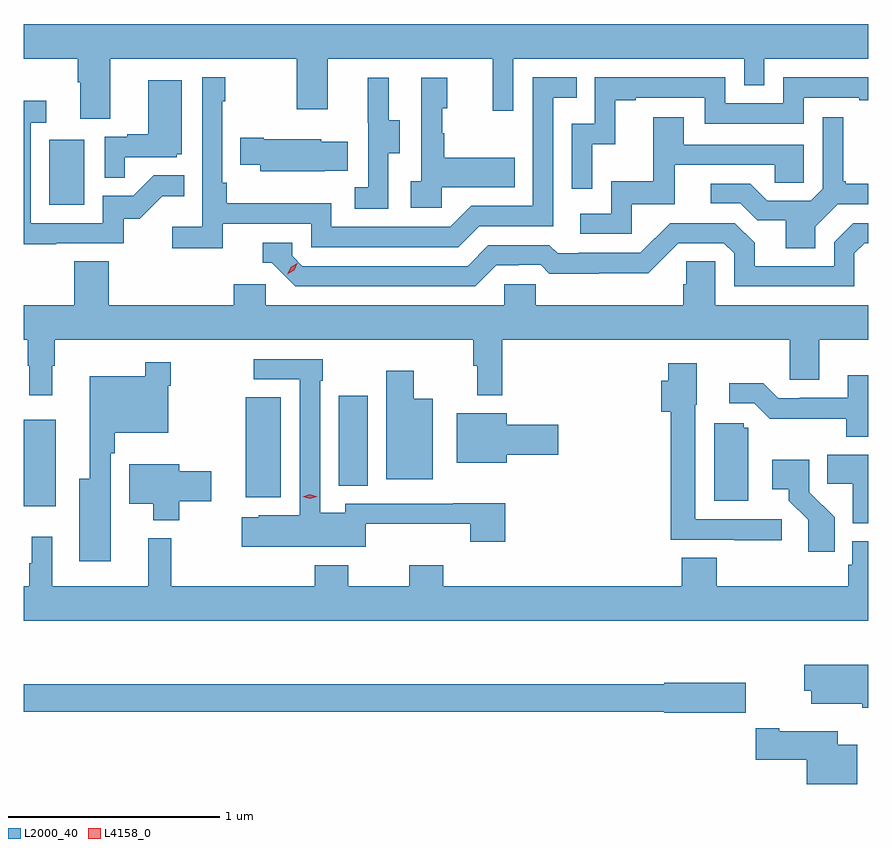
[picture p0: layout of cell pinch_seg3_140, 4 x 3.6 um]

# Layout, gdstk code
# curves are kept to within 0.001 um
import gdstk
lib = gdstk.Library(unit=1e-6, precision=1e-09)
def R(c, l, rs):  # rectangles x0, y0, x1, y1
    for r in rs: c.add(gdstk.rectangle(r[:2], r[2:], *l))
def P(c, l, *ps):  # polygons
    for p in ps: c.add(gdstk.Polygon(p, *l))
L2000_40 = (2000, 40)
L4158_0 = (4158, 0)

pinch_seg3_140 = lib.new_cell('pinch_seg3_140')
R(pinch_seg3_140, L2000_40, [(1101.373,724.103,1101.523,724.513), (1102.424,724.145,1102.591,724.619), (1102.865,724.201,1103.002,724.627), (1101.494,725.532,1101.658,725.839)])
P(pinch_seg3_140, L2000_40, [(1101.781,726.224),(1102.666,726.224),(1102.666,725.985),(1102.813,725.985),(1102.813,726.224),(1103.594,726.224),(1103.594,725.976),(1103.691,725.976),(1103.691,726.224),(1104.786,726.224),(1104.786,726.097),(1104.882,726.097),(1104.882,726.224),(1105.373,726.224),(1105.373,726.388),(1101.373,726.388),(1101.373,726.224),(1101.629,726.224),(1101.629,726.112),(1101.641,726.112),(1101.641,725.938),(1101.781,725.938)],
  [(1102.316,725.442),(1102.734,725.442),(1102.734,725.331),(1103.431,725.331),(1103.53,725.43),(1103.88,725.43),(1103.88,726.039),(1103.993,726.039),(1103.993,726.135),(1103.784,726.135),(1103.784,725.526),(1103.493,725.526),(1103.394,725.427),(1102.83,725.427),(1102.83,725.539),(1102.334,725.539),(1102.334,725.635),(1102.314,725.635),(1102.314,726.023),(1102.327,726.023),(1102.327,726.136),(1102.218,726.136),(1102.218,725.428),(1102.077,725.428),(1102.077,725.326),(1102.316,725.326)],
  [(1104.066,725.819),(1104.176,725.819),(1104.176,726.027),(1104.271,726.027),(1104.271,726.039),(1104.6,726.039),(1104.6,725.916),(1105.068,725.916),(1105.068,726.039),(1105.331,726.039),(1105.331,726.027),(1105.373,726.027),(1105.373,726.135),(1104.972,726.135),(1104.972,726.012),(1104.696,726.012),(1104.696,726.135),(1104.078,726.135),(1104.078,725.916),(1103.97,725.916),(1103.97,725.607),(1104.066,725.607)],
  [(1103.1,725.776),(1103.155,725.776),(1103.155,725.931),(1103.101,725.931),(1103.101,726.133),(1103.003,726.133),(1103.003,725.919),(1103.004,725.919),(1103.004,725.615),(1102.941,725.615),(1102.941,725.512),(1103.1,725.512)],
  [(1103.352,725.615),(1103.699,725.615),(1103.699,725.755),(1103.365,725.755),(1103.365,725.87),(1103.355,725.87),(1103.355,725.988),(1103.38,725.988),(1103.38,726.133),(1103.256,726.133),(1103.256,725.642),(1103.205,725.642),(1103.205,725.517),(1103.352,725.517)],
  [(1101.851,725.757),(1102.098,725.757),(1102.098,725.772),(1102.12,725.772),(1102.12,726.121),(1101.962,726.121),(1101.962,725.866),(1101.863,725.866),(1101.863,725.853),(1101.756,725.853),(1101.756,725.659),(1101.851,725.659)],
  [(1101.527,725.349),(1101.846,725.349),(1101.846,725.466),(1101.922,725.466),(1102.029,725.573),(1102.133,725.573),(1102.133,725.672),(1101.989,725.672),(1101.891,725.574),(1101.747,725.574),(1101.747,725.445),(1101.405,725.445),(1101.405,725.919),(1101.478,725.919),(1101.478,726.025),(1101.373,726.025),(1101.373,725.344),(1101.527,725.344)],
  [(1104.252,725.535),(1104.457,725.535),(1104.457,725.721),(1104.931,725.721),(1104.931,725.637),(1105.068,725.637),(1105.068,725.817),(1104.499,725.817),(1104.499,725.947),(1104.355,725.947),(1104.355,725.644),(1104.156,725.644),(1104.156,725.49),(1104.009,725.49),(1104.009,725.394),(1104.252,725.394)],
  [(1105.123,725.428),(1105.23,725.535),(1105.373,725.535),(1105.373,725.632),(1105.267,725.632),(1105.267,725.644),(1105.255,725.644),(1105.255,725.947),(1105.158,725.947),(1105.158,725.607),(1105.101,725.55),(1104.895,725.55),(1104.814,725.631),(1104.627,725.631),(1104.627,725.538),(1104.768,725.538),(1104.848,725.458),(1104.983,725.458),(1104.983,725.326),(1105.123,725.326)],
  [(1102.799,725.693),(1102.907,725.693),(1102.907,725.83),(1102.782,725.83),(1102.782,725.842),(1102.51,725.842),(1102.51,725.85),(1102.399,725.85),(1102.399,725.72),(1102.493,725.72),(1102.493,725.69),(1102.799,725.69)],
  [(1103.611,725.244),(1103.718,725.244),(1103.718,725.247),(1103.821,725.247),(1103.863,725.205),(1104.096,725.205),(1104.096,725.207),(1104.332,725.207),(1104.474,725.349),(1104.69,725.349),(1104.738,725.301),(1104.738,725.145),(1105.308,725.145),(1105.308,725.301),(1105.356,725.349),(1105.373,725.349),(1105.373,725.445),(1105.302,725.445),(1105.212,725.355),(1105.212,725.241),(1104.835,725.241),(1104.835,725.351),(1104.741,725.445),(1104.435,725.445),(1104.294,725.304),(1104.001,725.304),(1104.001,725.301),(1103.902,725.301),(1103.863,725.34),(1103.574,725.34),(1103.475,725.241),(1102.692,725.241),(1102.644,725.289),(1102.644,725.352),(1102.505,725.352),(1102.505,725.256),(1102.548,725.256),(1102.659,725.145),(1103.512,725.145)],
  [(1101.508,724.769),(1101.52,724.769),(1101.52,724.892),(1103.503,724.892),(1103.503,724.769),(1103.522,724.769),(1103.522,724.629),(1103.639,724.629),(1103.639,724.892),(1105.002,724.892),(1105.002,724.702),(1105.141,724.702),(1105.141,724.892),(1105.373,724.892),(1105.373,725.056),(1104.648,725.056),(1104.648,725.264),(1104.511,725.264),(1104.511,725.154),(1104.497,725.154),(1104.497,725.056),(1103.799,725.056),(1103.799,725.154),(1103.649,725.154),(1103.649,725.056),(1102.518,725.056),(1102.518,725.154),(1102.367,725.154),(1102.367,725.056),(1101.776,725.056),(1101.776,725.264),(1101.611,725.264),(1101.611,725.056),(1101.373,725.056),(1101.373,724.892),(1101.391,724.892),(1101.391,724.769),(1101.399,724.769),(1101.399,724.629),(1101.508,724.629)],
  [(1102.992,724.019),(1103.489,724.019),(1103.489,723.936),(1103.654,723.936),(1103.654,724.118),(1103.407,724.118),(1103.407,724.116),(1102.896,724.116),(1102.896,724.072),(1102.776,724.072),(1102.776,724.697),(1102.789,724.697),(1102.789,724.8),(1102.461,724.8),(1102.461,724.704),(1102.68,724.704),(1102.68,724.06),(1102.485,724.06),(1102.485,724.051),(1102.406,724.051),(1102.406,723.911),(1102.992,723.911)],
  [(1101.784,724.355),(1101.803,724.355),(1101.803,724.451),(1102.056,724.451),(1102.056,724.673),(1102.069,724.673),(1102.069,724.786),(1101.948,724.786),(1101.948,724.72),(1101.686,724.72),(1101.686,724.234),(1101.635,724.234),(1101.635,723.842),(1101.784,723.842)],
  [(1104.964,724.041),(1104.555,724.041),(1104.555,724.584),(1104.562,724.584),(1104.562,724.78),(1104.426,724.78),(1104.426,724.698),(1104.392,724.698),(1104.392,724.55),(1104.439,724.55),(1104.439,723.945),(1104.739,723.945),(1104.739,723.943),(1104.964,723.943)],
  [(1103.311,724.612),(1103.22,724.612),(1103.22,724.744),(1103.09,724.744),(1103.09,724.232),(1103.311,724.232)],
  [(1105.373,724.723),(1105.277,724.723),(1105.277,724.617),(1105.048,724.617),(1105.048,724.614),(1104.948,724.614),(1104.875,724.687),(1104.714,724.687),(1104.714,724.59),(1104.834,724.59),(1104.907,724.517),(1105.27,724.518),(1105.27,724.433),(1105.373,724.433)],
  [(1103.662,724.346),(1103.905,724.346),(1103.905,724.488),(1103.662,724.488),(1103.662,724.543),(1103.423,724.543),(1103.423,724.31),(1103.662,724.31)],
  [(1104.805,724.476),(1104.783,724.476),(1104.783,724.497),(1104.644,724.497),(1104.644,724.128),(1104.805,724.128)],
  [(1105.373,724.348),(1105.18,724.348),(1105.18,724.21),(1105.301,724.21),(1105.301,724.022),(1105.373,724.022)],
  [(1105.214,724.05),(1105.095,724.169),(1105.095,724.324),(1104.918,724.324),(1104.918,724.184),(1104.998,724.184),(1104.998,724.129),(1105.089,724.039),(1105.089,723.888),(1105.214,723.888)],
  [(1102.108,724.126),(1102.261,724.126),(1102.261,724.268),(1102.108,724.268),(1102.108,724.303),(1101.872,724.303),(1101.872,724.115),(1101.986,724.115),(1101.986,724.037),(1102.108,724.037)],
  [(1105.373,723.937),(1105.299,723.937),(1105.299,723.825),(1105.279,723.825),(1105.279,723.724),(1104.656,723.724),(1104.656,723.86),(1104.491,723.86),(1104.491,723.724),(1103.36,723.724),(1103.36,723.823),(1103.2,723.823),(1103.2,723.724),(1102.911,723.724),(1102.911,723.823),(1102.751,723.823),(1102.751,723.724),(1102.072,723.724),(1102.072,723.952),(1101.962,723.952),(1101.962,723.724),(1101.507,723.724),(1101.507,723.958),(1101.41,723.958),(1101.41,723.833),(1101.399,723.833),(1101.399,723.724),(1101.373,723.724),(1101.373,723.56),(1105.373,723.56)],
  [(1105.373,723.352),(1105.07,723.352),(1105.07,723.23),(1105.103,723.23),(1105.103,723.167),(1105.346,723.167),(1105.346,723.148),(1105.373,723.148)],
  [(1104.793,723.267),(1104.408,723.267),(1104.408,723.259),(1101.373,723.259),(1101.373,723.13),(1104.408,723.13),(1104.408,723.125),(1104.793,723.125)],
  [(1105.321,722.974),(1105.228,722.974),(1105.228,723.037),(1104.952,723.037),(1104.952,723.05),(1104.84,723.05),(1104.84,722.903),(1105.082,722.903),(1105.082,722.787),(1105.321,722.787)])
P(pinch_seg3_140, L4158_0, [(1102.728,724.139),(1102.694,724.149),(1102.693,724.149),(1102.694,724.149),(1102.728,724.159),(1102.763,724.149),(1102.763,724.149),(1102.763,724.149)],
  [(1102.622,725.202),(1102.622,725.202),(1102.638,725.235),(1102.668,725.254),(1102.669,725.254),(1102.669,725.254),(1102.653,725.221),(1102.622,725.202)])

lib.write_gds('pinch_seg3_140.gds')
